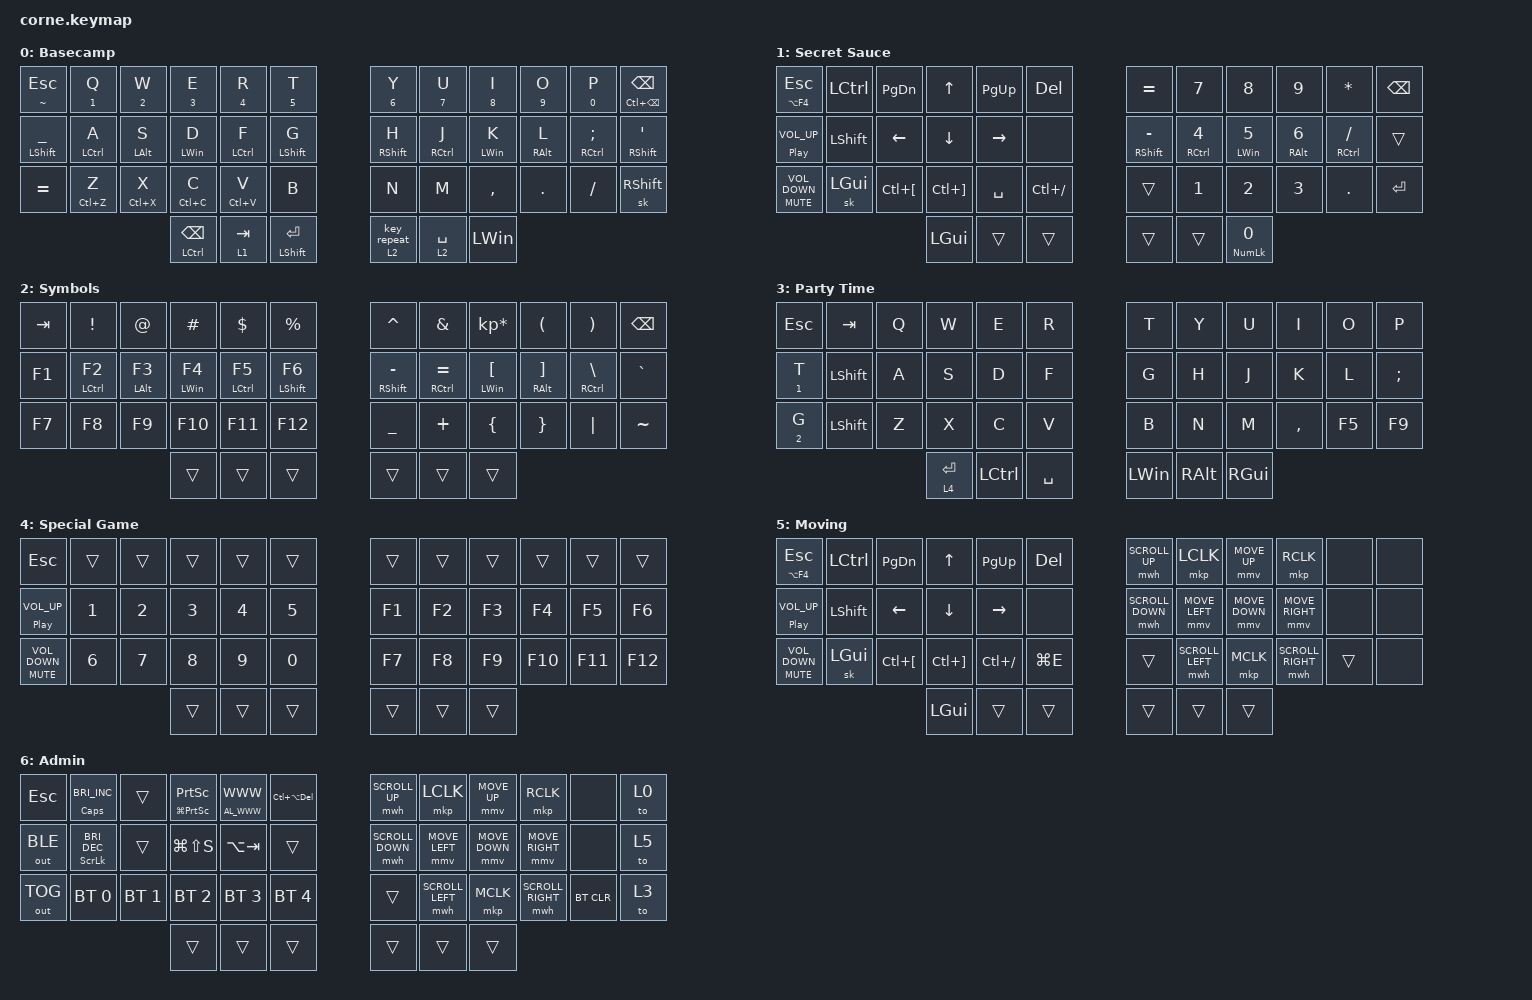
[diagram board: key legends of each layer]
/*
 * Copyright (c) 2020 The ZMK Contributors
 *
 * SPDX-License-Identifier: MIT
 */

#include <behaviors.dtsi>
#include <dt-bindings/zmk/mouse.h>
#include <dt-bindings/zmk/bt.h>
#include <dt-bindings/zmk/keys.h>
#include <dt-bindings/zmk/outputs.h>

&mmv {
    acceleration-exponent = <2>;
    time-to-max-speed-ms = <1000>;
};

&mwh {
    acceleration-exponent = <2>;
    time-to-max-speed-ms = <1000>;
};

#define U_MOUSE_MOVE_MAX_X 3000
#define U_MOUSE_MOVE_MAX_Y 2000
#define U_MOUSE_SCROLL_MAX 100

/ {
    combos {
        compatible = "zmk,combos";

        toadmin {
            bindings = <&sl 6>;
            key-positions = <40 37>;
            timeout-ms = <1000>;
            require-prior-idle-ms = <100>;
            layers = <0 1 2 3 4 5>;
        };

        admin2 {
            bindings = <&sl 6>;
            key-positions = <39 38>;
            timeout-ms = <1000>;
            require-prior-idle-ms = <100>;
            layers = <0 2 1 3 4 5>;
        };
    };

    behaviors {
        hmr: hmr {
            compatible = "zmk,behavior-hold-tap";
            label = "HMR";
            bindings = <&kp>, <&kp>;

            #binding-cells = <2>;
            tapping-term-ms = <200>;
            quick-tap-ms = <175>;
            hold-trigger-key-positions = <0 1 2 4 5 12 13 14 15 16 17 24 25 26 27 28 29 36 37 38 3 39 40 41 6 7 8 9 10 11 18 19 20 21 22 23 30 31 32 33 34 35>;
            flavor = "balanced";
            hold-trigger-on-release;
        };

        hml: hml {
            compatible = "zmk,behavior-hold-tap";
            label = "HML";
            bindings = <&kp>, <&kp>;

            #binding-cells = <2>;
            tapping-term-ms = <200>;
            quick-tap-ms = <175>;
            flavor = "balanced";
            retro-tap;
            hold-trigger-key-positions = <6 7 8 9 10 11 18 19 20 21 22 23 30 31 32 33 34 35 39 40 41 36 37 38 0 1 2 3 4 5 12 13 14 15 16 17 24 25 26 27 28 29>;
            hold-trigger-on-release;
        };

        thumb: thumb {
            compatible = "zmk,behavior-hold-tap";
            label = "THUMB";
            bindings = <&kp>, <&kp>;

            #binding-cells = <2>;
            tapping-term-ms = <200>;
            hold-trigger-key-positions = <0 1 2 3 4 5 6 7 8 9 10 11 12 13 14 15 16 17 18 19 20 21 22 23 24 25 26 27 28 29 30 31 32 33 34 35>;
            flavor = "balanced";
        };

        symbols: symbols {
            compatible = "zmk,behavior-hold-tap";
            label = "SYMBOLS";
            bindings = <&kp>, <&kp>;

            #binding-cells = <2>;
            tapping-term-ms = <200>;
            flavor = "tap-preferred";
        };

        bottom: bottom {
            compatible = "zmk,behavior-hold-tap";
            label = "BOTTOM";
            bindings = <&kp>, <&kp>;

            #binding-cells = <2>;
            tapping-term-ms = <200>;
            flavor = "tap-preferred";
        };

        altthumb: altthumb {
            compatible = "zmk,behavior-hold-tap";
            label = "ALTTHUMB";
            bindings = <&kp>, <&key_repeat>;

            #binding-cells = <2>;
            tapping-term-ms = <200>;
            quick-tap-ms = <100>;
            flavor = "balanced";
        };

        thumblayer: thumblayer {
            compatible = "zmk,behavior-hold-tap";
            label = "THUMBLAYER";
            bindings = <&sl>, <&kp>;

            #binding-cells = <2>;
            tapping-term-ms = <200>;
            flavor = "tap-preferred";
            quick-tap-ms = <175>;
        };

        thumblayerrepeat: thumblayerrepeat {
            compatible = "zmk,behavior-hold-tap";
            label = "THUMBLAYERREPEAT";
            bindings = <&sl>, <&key_repeat>;

            #binding-cells = <2>;
            tapping-term-ms = <200>;
            flavor = "balanced";
        };

        thumblayertap: thumblayertap {
            compatible = "zmk,behavior-hold-tap";
            label = "THUMBLAYERTAP";
            bindings = <&kp>, <&kp>;

            #binding-cells = <2>;
            tapping-term-ms = <200>;
            flavor = "balanced";
            quick-tap-ms = <175>;
        };

        soundkeys: soundkeys {
            compatible = "zmk,behavior-hold-tap";
            label = "SOUNDKEYS";
            bindings = <&kp>, <&kp>;

            #binding-cells = <2>;
            tapping-term-ms = <200>;
            flavor = "tap-preferred";
            quick-tap-ms = <175>;
        };
    };

    macros {
        alttab: alttab {
            compatible = "zmk,behavior-macro";
            #binding-cells = <0>;
            bindings =
                <&macro_press>,
                <&kp LEFT_ALT>,
                <&macro_tap>,
                <&kp TAB &alttab>,
                <&macro_press>;

            label = "ALTTAB";
        };
    };

    keymap {
        compatible = "zmk,keymap";

        base {
            // -----------------------------------------------------------------------------------------
            // |  TAB |  Q  |  W  |  E  |  R  |  T  |   |  Y  |  U   |  I  |  O  |  P  | BKSP |
            // | CTRL |  A  |  S  |  D  |  F  |  G  |   |  H  |  J   |  K  |  L  |  ;  |  '   |
            // | SHFT |  Z  |  X  |  C  |  V  |  B  |   |  N  |  M   |  ,  |  .  |  /  | ESC  |
            //                    | GUI | LWR | SPC |   | ENT | RSE  | ALT |

            bindings = <
&symbols TILDE ESCAPE  &symbols N1 Q        &symbols N2 W    &symbols N3 E           &symbols N4 R        &symbols N5 T                      &symbols N6 Y          &symbols N7 U        &symbols N8 I    &symbols N9 O     &symbols N0 P         &symbols LC(BACKSPACE) BACKSPACE
&hml LEFT_SHIFT UNDER  &hml LEFT_CONTROL A  &hml LEFT_ALT S  &hml LEFT_WIN D         &hml LEFT_CONTROL F  &hml LEFT_SHIFT G                  &hmr RIGHT_SHIFT H     &hmr RCTRL J         &hmr LEFT_WIN K  &hmr RIGHT_ALT L  &hmr RCTRL SEMICOLON  &hmr RIGHT_SHIFT SQT
&kp EQUAL              &bottom LC(Z) Z      &bottom LC(X) X  &bottom LC(C) C         &bottom LC(V) V      &kp B                              &kp N                  &kp M                &kp COMMA        &kp DOT           &kp FSLH              &sk RIGHT_SHIFT
                                                             &thumb LCTRL BACKSPACE  &thumblayer 1 TAB    &thumblayertap LEFT_SHIFT ENTER    &thumblayerrepeat 2 0  &thumblayer 2 SPACE  &kp LEFT_WIN
            >;

            label = "Basecamp";
        };

        move {
            // -----------------------------------------------------------------------------------------
            // |  TAB |  1  |  2  |  3  |  4  |  5  |   |  6  |  7  |  8  |  9  |  0  | BKSP |
            // | BTCLR| BT1 | BT2 | BT3 | BT4 | BT5 |   | LFT | DWN |  UP | RGT |     |      |
            // | SHFT |     |     |     |     |     |   |     |     |     |     |     |      |
            //                    | GUI |     | SPC |   | ENT |     | ALT |

            bindings = <
&symbols LA(F4) ESCAPE               &kp LCTRL       &kp PAGE_DOWN         &kp UP_ARROW           &kp PAGE_UP  &kp DEL          &kp EQUAL               &kp N7               &kp N8                  &kp N9                   &kp STAR          &kp BSPC
&soundkeys C_PLAY_PAUSE C_VOLUME_UP  &kp LEFT_SHIFT  &kp LEFT              &kp DOWN               &kp RIGHT    &none            &hmr RIGHT_SHIFT MINUS  &hmr RCTRL NUMBER_4  &hmr LEFT_WIN N5        &hmr RIGHT_ALT NUMBER_6  &hmr RCTRL SLASH  &trans
&soundkeys C_MUTE C_VOLUME_DOWN      &sk LEFT_GUI    &kp LC(LEFT_BRACKET)  &kp LC(RIGHT_BRACKET)  &kp SPACE    &kp LC(SLASH)    &trans                  &kp NUMBER_1         &kp NUMBER_2            &kp NUMBER_3             &kp DOT           &kp RET
                                                                           &kp LGUI               &trans       &trans           &trans                  &trans               &symbols KP_NUMLOCK N0
            >;

            label = "Secret Sauce";
        };

        symbols {
            // -----------------------------------------------------------------------------------------
            // |  TAB |  !  |  @  |  #  |  $  |  %  |   |  ^  |  &  |  *  |  (  |  )  | BKSP |
            // | CTRL |     |     |     |     |     |   |  -  |  =  |  [  |  ]  |  \  |  `   |
            // | SHFT |     |     |     |     |     |   |  _  |  +  |  {  |  }  | "|" |  ~   |
            //                    | GUI |     | SPC |   | ENT |     | ALT |

            bindings = <
&kp TAB  &kp EXCL              &kp AT            &kp HASH          &kp DLLR              &kp PRCNT             &kp CARET               &kp AMPS          &kp KP_MULTIPLY     &kp LPAR             &kp RPAR         &kp BSPC
&kp F1   &hml LEFT_CONTROL F2  &hml LEFT_ALT F3  &hml LEFT_WIN F4  &hml LEFT_CONTROL F5  &hml LEFT_SHIFT F6    &hmr RIGHT_SHIFT MINUS  &hmr RCTRL EQUAL  &hmr LEFT_WIN LBKT  &hmr RIGHT_ALT RBKT  &hmr RCTRL BSLH  &kp GRAVE
&kp F7   &kp F8                &kp F9            &kp F10           &kp F11               &kp F12               &kp UNDER               &kp PLUS          &kp LBRC            &kp RBRC             &kp PIPE         &kp TILDE
                                                 &trans            &trans                &trans                &trans                  &trans            &trans
            >;

            label = "Symbols";
        };

        gaming {
            bindings = <
&kp ESCAPE           &kp TAB         &kp Q  &kp W      &kp E      &kp R        &kp T         &kp Y          &kp U          &kp I      &kp O   &kp P
&symbols NUMBER_1 T  &kp LSHFT       &kp A  &kp S      &kp D      &kp F        &kp G         &kp H          &kp J          &kp K      &kp L   &kp SEMI
&symbols NUMBER_2 G  &kp LEFT_SHIFT  &kp Z  &kp X      &kp C      &kp V        &kp B         &kp N          &kp M          &kp COMMA  &kp F5  &kp F9
                                            &lt 4 RET  &kp LCTRL  &kp SPACE    &kp LEFT_WIN  &kp RIGHT_ALT  &kp RIGHT_GUI
            >;

            label = "Party Time";
        };

        gamingsupport {
            bindings = <
&kp ESC                            &trans  &trans  &trans  &trans  &trans    &trans  &trans  &trans  &trans   &trans   &trans
&symbols C_PLAY_PAUSE C_VOLUME_UP  &kp N1  &kp N2  &kp N3  &kp N4  &kp N5    &kp F1  &kp F2  &kp F3  &kp F4   &kp F5   &kp F6
&symbols C_MUTE C_VOLUME_DOWN      &kp N6  &kp N7  &kp N8  &kp N9  &kp N0    &kp F7  &kp F8  &kp F9  &kp F10  &kp F11  &kp F12
                                                   &trans  &trans  &trans    &trans  &trans  &trans
            >;

            label = "Special Game";
        };

        justmovements {
            bindings = <
&symbols LA(F4) ESCAPE             &kp LCTRL       &kp PAGE_DOWN         &kp UP_ARROW           &kp PAGE_UP    &kp DEL      &mwh SCROLL_UP    &mkp LCLK         &mmv MOVE_UP    &mkp RCLK          &none   &none
&symbols C_PLAY_PAUSE C_VOLUME_UP  &kp LEFT_SHIFT  &kp LEFT              &kp DOWN               &kp RIGHT      &none        &mwh SCROLL_DOWN  &mmv MOVE_LEFT    &mmv MOVE_DOWN  &mmv MOVE_RIGHT    &none   &none
&symbols C_MUTE C_VOLUME_DOWN      &sk LEFT_GUI    &kp LC(LEFT_BRACKET)  &kp LC(RIGHT_BRACKET)  &kp LC(SLASH)  &kp LG(E)    &trans            &mwh SCROLL_LEFT  &mkp MCLK       &mwh SCROLL_RIGHT  &trans  &none
                                                                         &kp LGUI               &trans         &trans       &trans            &trans            &trans
            >;

            label = "Moving";
        };

        admin {
            bindings = <
&kp ESCAPE    &symbols CAPS C_BRIGHTNESS_INC        &trans        &symbols LG(PRINTSCREEN) PRINTSCREEN  &symbols C_AL_WWW K_WWW  &kp LC(LA(DEL))    &mwh SCROLL_UP    &mkp LCLK         &mmv MOVE_UP    &mkp RCLK          &none       &to 0
&out OUT_BLE  &symbols SCROLLLOCK C_BRIGHTNESS_DEC  &trans        &kp LG(LS(S))                         &kp LA(TAB)              &trans             &mwh SCROLL_DOWN  &mmv MOVE_LEFT    &mmv MOVE_DOWN  &mmv MOVE_RIGHT    &none       &to 5
&out OUT_TOG  &bt BT_SEL 0                          &bt BT_SEL 1  &bt BT_SEL 2                          &bt BT_SEL 3             &bt BT_SEL 4       &trans            &mwh SCROLL_LEFT  &mkp MCLK       &mwh SCROLL_RIGHT  &bt BT_CLR  &to 3
                                                                  &trans                                &trans                   &trans             &trans            &trans            &trans
            >;

            label = "Admin";
        };
    };
};
